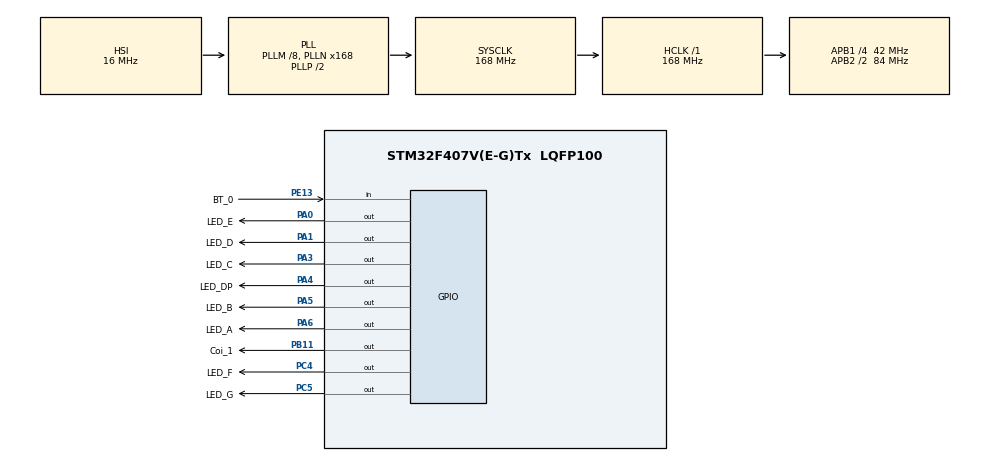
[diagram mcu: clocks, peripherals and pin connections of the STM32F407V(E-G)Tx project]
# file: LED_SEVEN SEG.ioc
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Mcu.Family=STM32F4
Mcu.Name=STM32F407V(E-G)Tx
Mcu.Package=LQFP100
NVIC.PriorityGroup=NVIC_PRIORITYGROUP_4
PA0-WKUP.GPIO_Label=LED_E
PA0-WKUP.Signal=GPIO_Output
PA1.GPIO_Label=LED_D
PA1.Signal=GPIO_Output
PA13.Signal=SYS_JTMS-SWDIO
PA3.GPIO_Label=LED_C
PA3.Signal=GPIO_Output
PA4.GPIO_Label=LED_DP
PA4.Signal=GPIO_Output
PA5.GPIO_Label=LED_B
PA5.Signal=GPIO_Output
PA6.GPIO_Label=LED_A
PA6.Signal=GPIO_Output
PB11.GPIO_Label=Coi_1
PB11.PinState=GPIO_PIN_SET
PB11.Signal=GPIO_Output
PC14-OSC32_IN.Mode=LSE-External-Oscillator
PC14-OSC32_IN.Signal=RCC_OSC32_IN
PC15-OSC32_OUT.Mode=LSE-External-Oscillator
PC15-OSC32_OUT.Signal=RCC_OSC32_OUT
PC4.GPIO_Label=LED_F
PC4.Signal=GPIO_Output
PC5.GPIO_Label=LED_G
PC5.Signal=GPIO_Output
PE13.GPIO_Label=BT_0
PE13.GPIO_PuPd=GPIO_PULLDOWN
PE13.Signal=GPIO_Input
PH0-OSC_IN.Mode=HSE-External-Oscillator
PH0-OSC_IN.Signal=RCC_OSC_IN
PH1-OSC_OUT.Mode=HSE-External-Oscillator
PH1-OSC_OUT.Signal=RCC_OSC_OUT
ProjectManager.HeapSize=0x200
ProjectManager.StackSize=0x400
ProjectManager.TargetToolchain=MDK-ARM V5.32
RCC.48MHZClocksFreq_Value=84000000
RCC.AHBFreq_Value=168000000
RCC.APB1CLKDivider=RCC_HCLK_DIV4
RCC.APB1Freq_Value=42000000
RCC.APB1TimFreq_Value=84000000
RCC.APB2CLKDivider=RCC_HCLK_DIV2
RCC.APB2Freq_Value=84000000
RCC.APB2TimFreq_Value=168000000
RCC.CortexFreq_Value=168000000
RCC.HCLKFreq_Value=168000000
RCC.HSE_VALUE=8000000
RCC.HSI_VALUE=16000000
RCC.PLLM=8
RCC.PLLN=168
RCC.SYSCLKFreq_VALUE=168000000
RCC.SYSCLKSource=RCC_SYSCLKSOURCE_PLLCLK
RCC.VCOOutputFreq_Value=336000000
board=custom

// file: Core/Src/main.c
/* USER CODE BEGIN Header */
/**
  ******************************************************************************
  * @file           : main.c
  * @brief          : Main program body
  ******************************************************************************
  * @attention
  *
  * Copyright (c) 2023 STMicroelectronics.
  * All rights reserved.
  *
  * This software is licensed under terms that can be found in the LICENSE file
  * in the root directory of this software component.
  * If no LICENSE file comes with this software, it is provided AS-IS.
  *
  ******************************************************************************
  */
/* USER CODE END Header */
#include "main.h"
#include "gpio.h"

void SystemClock_Config(void);

/* USER CODE BEGIN 0 */

	void tat_led()
	{
			HAL_GPIO_WritePin(LED_A_GPIO_Port,LED_A_Pin,0);
			HAL_GPIO_WritePin(LED_B_GPIO_Port,LED_B_Pin,0);
			HAL_GPIO_WritePin(LED_C_GPIO_Port,LED_C_Pin,0);
			HAL_GPIO_WritePin(LED_D_GPIO_Port,LED_D_Pin,0);
			HAL_GPIO_WritePin(LED_E_GPIO_Port,LED_E_Pin,0);
			HAL_GPIO_WritePin(LED_F_GPIO_Port,LED_F_Pin,0);
			HAL_GPIO_WritePin(LED_G_GPIO_Port,LED_G_Pin,0);
			HAL_GPIO_WritePin(LED_DP_GPIO_Port,LED_DP_Pin,0);
			HAL_Delay(50);

	}
	void so_0()
	{
			HAL_GPIO_WritePin(LED_A_GPIO_Port,LED_A_Pin,1);
			HAL_GPIO_WritePin(LED_B_GPIO_Port,LED_B_Pin,1);
			HAL_GPIO_WritePin(LED_C_GPIO_Port,LED_C_Pin,1);
			HAL_GPIO_WritePin(LED_D_GPIO_Port,LED_D_Pin,1);
			HAL_GPIO_WritePin(LED_E_GPIO_Port,LED_E_Pin,1);
			HAL_GPIO_WritePin(LED_F_GPIO_Port,LED_F_Pin,1);
			HAL_GPIO_WritePin(LED_G_GPIO_Port,LED_G_Pin,0);
			HAL_GPIO_WritePin(LED_DP_GPIO_Port,LED_DP_Pin,0);

	}
	void so_1()
	{
			HAL_GPIO_WritePin(LED_A_GPIO_Port,LED_A_Pin,0);
			HAL_GPIO_WritePin(LED_B_GPIO_Port,LED_B_Pin,1);
			HAL_GPIO_WritePin(LED_C_GPIO_Port,LED_C_Pin,1);
			HAL_GPIO_WritePin(LED_D_GPIO_Port,LED_D_Pin,0);
			HAL_GPIO_WritePin(LED_E_GPIO_Port,LED_E_Pin,0);
			HAL_GPIO_WritePin(LED_F_GPIO_Port,LED_F_Pin,0);
			HAL_GPIO_WritePin(LED_G_GPIO_Port,LED_G_Pin,0);
			HAL_GPIO_WritePin(LED_DP_GPIO_Port,LED_DP_Pin,0);

	}
	void so_2()
	{
			HAL_GPIO_WritePin(LED_A_GPIO_Port,LED_A_Pin,1);
			HAL_GPIO_WritePin(LED_B_GPIO_Port,LED_B_Pin,1);
			HAL_GPIO_WritePin(LED_C_GPIO_Port,LED_C_Pin,0);
			HAL_GPIO_WritePin(LED_D_GPIO_Port,LED_D_Pin,1);
			HAL_GPIO_WritePin(LED_E_GPIO_Port,LED_E_Pin,1);
			HAL_GPIO_WritePin(LED_F_GPIO_Port,LED_F_Pin,0);
			HAL_GPIO_WritePin(LED_G_GPIO_Port,LED_G_Pin,1);
			HAL_GPIO_WritePin(LED_DP_GPIO_Port,LED_DP_Pin,0);

	}
	void so_3()
	{
			HAL_GPIO_WritePin(LED_A_GPIO_Port,LED_A_Pin,1);
			HAL_GPIO_WritePin(LED_B_GPIO_Port,LED_B_Pin,1);
			HAL_GPIO_WritePin(LED_C_GPIO_Port,LED_C_Pin,1);
			HAL_GPIO_WritePin(LED_D_GPIO_Port,LED_D_Pin,1);
			HAL_GPIO_WritePin(LED_E_GPIO_Port,LED_E_Pin,0);
			HAL_GPIO_WritePin(LED_F_GPIO_Port,LED_F_Pin,0);
			HAL_GPIO_WritePin(LED_G_GPIO_Port,LED_G_Pin,1);
			HAL_GPIO_WritePin(LED_DP_GPIO_Port,LED_DP_Pin,0);

	}
	void so_4()
	{
			HAL_GPIO_WritePin(LED_A_GPIO_Port,LED_A_Pin,0);
			HAL_GPIO_WritePin(LED_B_GPIO_Port,LED_B_Pin,1);
			HAL_GPIO_WritePin(LED_C_GPIO_Port,LED_C_Pin,1);
			HAL_GPIO_WritePin(LED_D_GPIO_Port,LED_D_Pin,0);
			HAL_GPIO_WritePin(LED_E_GPIO_Port,LED_E_Pin,0);
			HAL_GPIO_WritePin(LED_F_GPIO_Port,LED_F_Pin,1);
			HAL_GPIO_WritePin(LED_G_GPIO_Port,LED_G_Pin,1);
			HAL_GPIO_WritePin(LED_DP_GPIO_Port,LED_DP_Pin,0);

	}
	void so_5()
	{
			HAL_GPIO_WritePin(LED_A_GPIO_Port,LED_A_Pin,1);
			HAL_GPIO_WritePin(LED_B_GPIO_Port,LED_B_Pin,0);
			HAL_GPIO_WritePin(LED_C_GPIO_Port,LED_C_Pin,1);
			HAL_GPIO_WritePin(LED_D_GPIO_Port,LED_D_Pin,1);
			HAL_GPIO_WritePin(LED_E_GPIO_Port,LED_E_Pin,0);
			HAL_GPIO_WritePin(LED_F_GPIO_Port,LED_F_Pin,1);
			HAL_GPIO_WritePin(LED_G_GPIO_Port,LED_G_Pin,1);
			HAL_GPIO_WritePin(LED_DP_GPIO_Port,LED_DP_Pin,0);

	}
	void so_6()
	{
			HAL_GPIO_WritePin(LED_A_GPIO_Port,LED_A_Pin,1);
			HAL_GPIO_WritePin(LED_B_GPIO_Port,LED_B_Pin,0);
			HAL_GPIO_WritePin(LED_C_GPIO_Port,LED_C_Pin,1);
			HAL_GPIO_WritePin(LED_D_GPIO_Port,LED_D_Pin,1);
			HAL_GPIO_WritePin(LED_E_GPIO_Port,LED_E_Pin,1);
			HAL_GPIO_WritePin(LED_F_GPIO_Port,LED_F_Pin,1);
			HAL_GPIO_WritePin(LED_G_GPIO_Port,LED_G_Pin,1);
			HAL_GPIO_WritePin(LED_DP_GPIO_Port,LED_DP_Pin,0);

	}
	void so_7()
	{
			HAL_GPIO_WritePin(LED_A_GPIO_Port,LED_A_Pin,1);
			HAL_GPIO_WritePin(LED_B_GPIO_Port,LED_B_Pin,1);
			HAL_GPIO_WritePin(LED_C_GPIO_Port,LED_C_Pin,1);
			HAL_GPIO_WritePin(LED_D_GPIO_Port,LED_D_Pin,0);
			HAL_GPIO_WritePin(LED_E_GPIO_Port,LED_E_Pin,0);
			HAL_GPIO_WritePin(LED_F_GPIO_Port,LED_F_Pin,0);
			HAL_GPIO_WritePin(LED_G_GPIO_Port,LED_G_Pin,0);
			HAL_GPIO_WritePin(LED_DP_GPIO_Port,LED_DP_Pin,0);

	}
	void so_8()
	{
			HAL_GPIO_WritePin(LED_A_GPIO_Port,LED_A_Pin,1);
			HAL_GPIO_WritePin(LED_B_GPIO_Port,LED_B_Pin,1);
			HAL_GPIO_WritePin(LED_C_GPIO_Port,LED_C_Pin,1);
			HAL_GPIO_WritePin(LED_D_GPIO_Port,LED_D_Pin,1);
			HAL_GPIO_WritePin(LED_E_GPIO_Port,LED_E_Pin,1);
			HAL_GPIO_WritePin(LED_F_GPIO_Port,LED_F_Pin,1);
			HAL_GPIO_WritePin(LED_G_GPIO_Port,LED_G_Pin,1);
			HAL_GPIO_WritePin(LED_DP_GPIO_Port,LED_DP_Pin,0);

	}
	void so_9()
	{
			HAL_GPIO_WritePin(LED_A_GPIO_Port,LED_A_Pin,1);
			HAL_GPIO_WritePin(LED_B_GPIO_Port,LED_B_Pin,1);
			HAL_GPIO_WritePin(LED_C_GPIO_Port,LED_C_Pin,1);
			HAL_GPIO_WritePin(LED_D_GPIO_Port,LED_D_Pin,1);
			HAL_GPIO_WritePin(LED_E_GPIO_Port,LED_E_Pin,0);
			HAL_GPIO_WritePin(LED_F_GPIO_Port,LED_F_Pin,1);
			HAL_GPIO_WritePin(LED_G_GPIO_Port,LED_G_Pin,1);
			HAL_GPIO_WritePin(LED_DP_GPIO_Port,LED_DP_Pin,0);

	}
	void hienthi_donvi(int i)
	{
		if (i ==0)
		{
			so_0();

		}
			if (i ==1)
		{
			so_1();

		}
			if (i ==2)
		{
			so_2();

		}
			if (i==3)
		{
			so_3();

		}
			if (i ==4)
		{
			so_4();

		}
			if (i ==5)
		{
			so_5();

		}
			if (i ==6)
		{
			so_6();

		}
			if (i ==7)
		{
			so_7();

		}
		if (i==8)
		{
			so_8();

		}
		if (i ==9)
		{
			so_9();

		}
	}
/* USER CODE END 0 */

int main(void)
{

  /* MCU Configuration--------------------------------------------------------*/

  /* Reset of all peripherals, Initializes the Flash interface and the Systick. */
  HAL_Init();

  /* Configure the system clock */
  SystemClock_Config();

  /* Initialize all configured peripherals */
  MX_GPIO_Init();

  /* Infinite loop */
  while (1)
  {

    /* USER CODE BEGIN 3 */

//			HAL_Delay(500);tat_led(); code kiem tra nut nhan
//		if (HAL_GPIO_ReadPin(BT_0_GPIO_Port,BT_0_Pin) == 1)
//		{
//			HAL_Delay(20);
//			if (HAL_GPIO_ReadPin(BT_0_GPIO_Port,BT_0_Pin) == 1)
//			{
//				dem= dem +1;
//				if (dem ==10)
//				{
//					dem =0;
//				}
//			}
//		}
//
		HAL_GPIO_WritePin(Coi_1_GPIO_Port,Coi_1_Pin,1);
		for(int m = 0; m<10; m++)
		{
			if(m==9)
			{
					HAL_GPIO_WritePin(Coi_1_GPIO_Port,Coi_1_Pin,0);
			}
			else
			{
					HAL_GPIO_WritePin(Coi_1_GPIO_Port,Coi_1_Pin,1);
			}
			hienthi_donvi(m);
			HAL_Delay(300);

//			if (i ==9)  code cua minh
//			{
//				for (i=9;i>0 ;i--)
//				{
//					hienthi_donvi(i);
//					HAL_Delay(300);
//				}
//			}
		}

		for(int m = 9; m >=0; m--) //code toi uu
		{
			if(m==0)
			{
					HAL_GPIO_WritePin(Coi_1_GPIO_Port,Coi_1_Pin,0);
			}
			else
			{
					HAL_GPIO_WritePin(Coi_1_GPIO_Port,Coi_1_Pin,1);
			}
			hienthi_donvi(m);
			HAL_Delay(300);

		}
  }
  /* USER CODE END 3 */
}

void SystemClock_Config(void)
{
  RCC_OscInitTypeDef RCC_OscInitStruct = {0};
  RCC_ClkInitTypeDef RCC_ClkInitStruct = {0};

  /** Configure the main internal regulator output voltage
  */
  __HAL_RCC_PWR_CLK_ENABLE();
  __HAL_PWR_VOLTAGESCALING_CONFIG(PWR_REGULATOR_VOLTAGE_SCALE1);

  /** Initializes the RCC Oscillators according to the specified parameters
  * in the RCC_OscInitTypeDef structure.
  */
  RCC_OscInitStruct.OscillatorType = RCC_OSCILLATORTYPE_HSI;
  RCC_OscInitStruct.HSIState = RCC_HSI_ON;
  RCC_OscInitStruct.HSICalibrationValue = RCC_HSICALIBRATION_DEFAULT;
  RCC_OscInitStruct.PLL.PLLState = RCC_PLL_ON;
  RCC_OscInitStruct.PLL.PLLSource = RCC_PLLSOURCE_HSI;
  RCC_OscInitStruct.PLL.PLLM = 8;
  RCC_OscInitStruct.PLL.PLLN = 168;
  RCC_OscInitStruct.PLL.PLLP = RCC_PLLP_DIV2;
  RCC_OscInitStruct.PLL.PLLQ = 4;
  if (HAL_RCC_OscConfig(&RCC_OscInitStruct) != HAL_OK)
  {
    Error_Handler();
  }

  /** Initializes the CPU, AHB and APB buses clocks
  */
  RCC_ClkInitStruct.ClockType = RCC_CLOCKTYPE_HCLK|RCC_CLOCKTYPE_SYSCLK
                              |RCC_CLOCKTYPE_PCLK1|RCC_CLOCKTYPE_PCLK2;
  RCC_ClkInitStruct.SYSCLKSource = RCC_SYSCLKSOURCE_PLLCLK;
  RCC_ClkInitStruct.AHBCLKDivider = RCC_SYSCLK_DIV1;
  RCC_ClkInitStruct.APB1CLKDivider = RCC_HCLK_DIV4;
  RCC_ClkInitStruct.APB2CLKDivider = RCC_HCLK_DIV2;

  if (HAL_RCC_ClockConfig(&RCC_ClkInitStruct, FLASH_LATENCY_5) != HAL_OK)
  {
    Error_Handler();
  }
}

void Error_Handler(void)
{
  __disable_irq();
  while (1)
  {
  }
}
